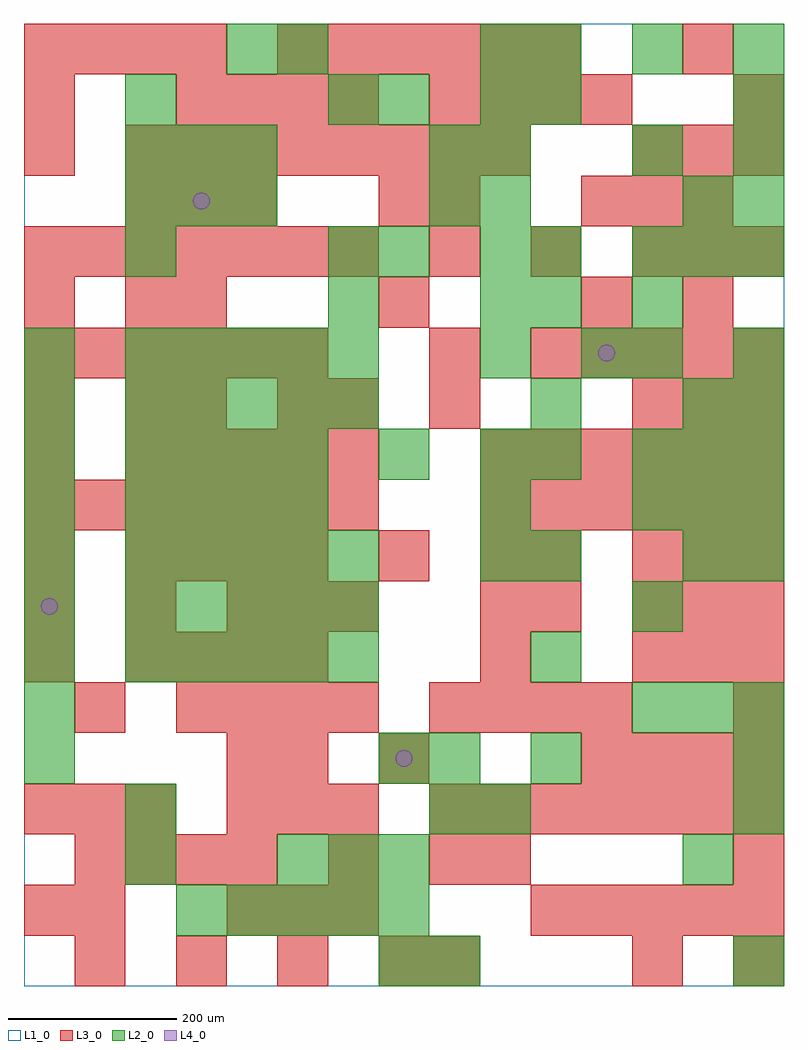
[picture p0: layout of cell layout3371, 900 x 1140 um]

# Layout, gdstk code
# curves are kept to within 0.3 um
import gdstk
lib = gdstk.Library(unit=1e-6, precision=1e-09)
def R(c, l, rs):  # rectangles x0, y0, x1, y1
    for r in rs: c.add(gdstk.rectangle(r[:2], r[2:], *l))
def A(c, l, x, y, w, h, nx, ny, dx, dy):  # array of equal rectangles
    R(c, l, [(x+i*dx, y+j*dy, x+i*dx+w, y+j*dy+h) for i in range(nx) for j in range(ny)])
def P(c, l, *ps):  # polygons
    for p in ps: c.add(gdstk.Polygon(p, *l))
L1_0 = (1, 0)
L2_0 = (2, 0)
L3_0 = (3, 0)
L4_0 = (4, 0)

layout3371 = lib.new_cell('layout3371')
R(layout3371, L1_0, [(0,0,900,1140)])
A(layout3371, L2_0, 180, 60, 60, 60, 5, 1, 60, 0)
A(layout3371, L2_0, 300, 120, 60, 60, 3, 1, 60, 0)
A(layout3371, L2_0, 0, 240, 60, 60, 1, 9, 0, 60)
A(layout3371, L2_0, 600, 240, 60, 60, 1, 4, 0, 120)
A(layout3371, L2_0, 720, 300, 60, 60, 3, 2, 60, 240)
A(layout3371, L2_0, 120, 360, 60, 60, 5, 3, 60, 60)
A(layout3371, L2_0, 540, 480, 60, 60, 1, 3, 0, 60)
A(layout3371, L2_0, 120, 540, 60, 60, 4, 2, 60, 60)
A(layout3371, L2_0, 720, 600, 60, 60, 3, 2, 60, 240)
A(layout3371, L2_0, 120, 660, 60, 60, 5, 2, 60, 60)
A(layout3371, L2_0, 540, 720, 60, 60, 1, 7, 0, 60)
A(layout3371, L2_0, 120, 900, 60, 60, 3, 2, 60, 60)
A(layout3371, L2_0, 840, 900, 60, 60, 1, 3, 0, 60)
A(layout3371, L2_0, 600, 1080, 60, 60, 3, 1, 120, 0)
R(layout3371, L2_0, [(420,0,480,60), (480,0,540,60), (840,0,900,60), (120,120,180,180), (780,120,840,180), (120,180,180,240), (480,180,540,240), (540,180,600,240), (840,180,900,240), (420,240,480,300), (480,240,540,300), (840,240,900,300), (720,420,780,480), (780,480,840,540), (840,480,900,540), (420,600,480,660), (600,660,660,720), (780,660,840,720), (840,660,900,720), (660,720,720,780), (720,720,780,780), (840,720,900,780), (360,780,420,840), (600,780,660,840), (720,780,780,840), (120,840,180,900), (360,840,420,900), (420,840,480,900), (600,840,660,900), (480,900,540,960), (780,900,840,960), (480,960,540,1020), (720,960,780,1020), (120,1020,180,1080), (360,1020,420,1080), (420,1020,480,1080), (600,1020,660,1080), (240,1080,300,1140), (300,1080,360,1140)])
A(layout3371, L3_0, 60, 0, 60, 60, 4, 1, 120, 0)
A(layout3371, L3_0, 240, 60, 60, 60, 3, 2, 60, 120)
A(layout3371, L3_0, 600, 60, 60, 60, 5, 2, 60, 660)
A(layout3371, L3_0, 60, 120, 60, 60, 4, 1, 60, 0)
A(layout3371, L3_0, 0, 180, 60, 60, 3, 1, 60, 0)
A(layout3371, L3_0, 480, 180, 60, 60, 7, 1, 60, 0)
A(layout3371, L3_0, 660, 240, 60, 60, 4, 1, 60, 0)
A(layout3371, L3_0, 180, 300, 60, 60, 4, 2, 60, 720)
A(layout3371, L3_0, 480, 300, 60, 60, 4, 2, 60, 720)
A(layout3371, L3_0, 0, 360, 60, 60, 1, 3, 0, 120)
A(layout3371, L3_0, 120, 360, 60, 60, 4, 2, 60, 120)
A(layout3371, L3_0, 540, 360, 60, 60, 1, 3, 0, 60)
A(layout3371, L3_0, 720, 360, 60, 60, 3, 3, 60, 60)
A(layout3371, L3_0, 0, 420, 60, 60, 3, 1, 120, 0)
A(layout3371, L3_0, 0, 540, 60, 60, 7, 2, 60, 300)
A(layout3371, L3_0, 540, 540, 60, 60, 6, 2, 60, 60)
A(layout3371, L3_0, 120, 600, 60, 60, 5, 1, 60, 0)
A(layout3371, L3_0, 720, 660, 60, 60, 3, 2, 60, 300)
A(layout3371, L3_0, 0, 720, 60, 60, 6, 1, 60, 0)
A(layout3371, L3_0, 180, 780, 60, 60, 3, 1, 240, 0)
A(layout3371, L3_0, 480, 840, 60, 60, 3, 1, 120, 0)
A(layout3371, L3_0, 120, 900, 60, 60, 3, 1, 60, 0)
A(layout3371, L3_0, 660, 900, 60, 60, 3, 1, 60, 0)
A(layout3371, L3_0, 120, 960, 60, 60, 8, 1, 60, 0)
A(layout3371, L3_0, 0, 1080, 60, 60, 4, 1, 60, 0)
A(layout3371, L3_0, 300, 1080, 60, 60, 6, 1, 60, 0)
R(layout3371, L3_0, [(480,0,540,60), (720,0,780,60), (840,0,900,60), (0,60,60,120), (60,60,120,120), (360,120,420,180), (480,120,540,180), (540,120,600,180), (840,120,900,180), (240,240,300,300), (300,240,360,300), (420,240,480,300), (60,300,120,360), (840,300,900,360), (300,420,360,480), (360,420,420,480), (600,420,660,480), (420,480,480,540), (600,480,660,540), (0,660,60,720), (120,660,180,720), (180,660,240,720), (300,660,360,720), (360,660,420,720), (480,660,540,720), (480,720,540,780), (0,780,60,840), (120,780,180,840), (780,780,840,840), (780,840,840,900), (840,840,900,900), (420,900,480,960), (480,900,540,960), (0,960,60,1020), (0,1020,60,1080), (840,1020,900,1080), (780,1080,840,1140)])
P(layout3371, L4_0, [(40,450),(39.239,453.827),(37.071,457.071),(33.827,459.239),(30,460),(26.173,459.239),(22.929,457.071),(20.761,453.827),(20,450),(20.761,446.173),(22.929,442.929),(26.173,440.761),(30,440),(33.827,440.761),(37.071,442.929),(39.239,446.173)],
  [(220,930),(219.239,933.827),(217.071,937.071),(213.827,939.239),(210,940),(206.173,939.239),(202.929,937.071),(200.761,933.827),(200,930),(200.761,926.173),(202.929,922.929),(206.173,920.761),(210,920),(213.827,920.761),(217.071,922.929),(219.239,926.173)],
  [(460,270),(459.239,273.827),(457.071,277.071),(453.827,279.239),(450,280),(446.173,279.239),(442.929,277.071),(440.761,273.827),(440,270),(440.761,266.173),(442.929,262.929),(446.173,260.761),(450,260),(453.827,260.761),(457.071,262.929),(459.239,266.173)],
  [(700,750),(699.239,753.827),(697.071,757.071),(693.827,759.239),(690,760),(686.173,759.239),(682.929,757.071),(680.761,753.827),(680,750),(680.761,746.173),(682.929,742.929),(686.173,740.761),(690,740),(693.827,740.761),(697.071,742.929),(699.239,746.173)])

lib.write_gds('layout3371.gds')
